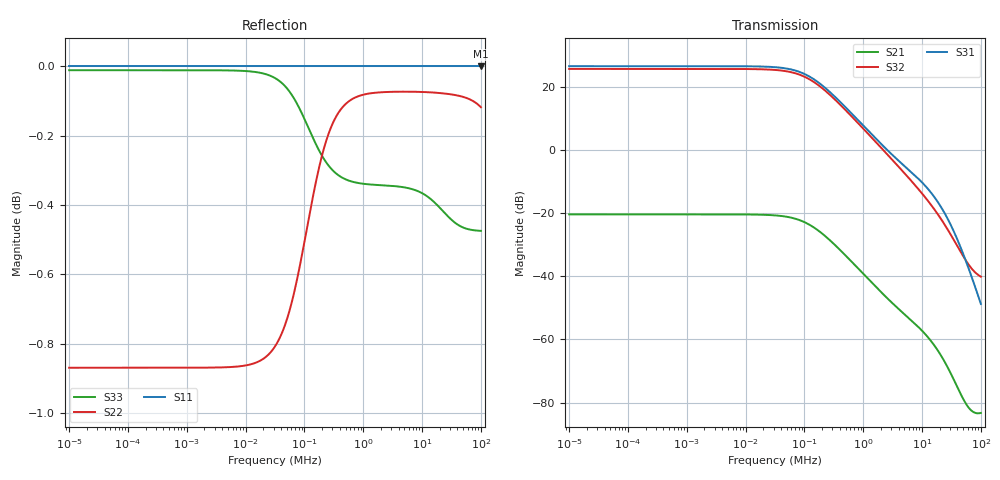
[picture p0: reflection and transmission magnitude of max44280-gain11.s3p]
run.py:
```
"""Run the assembled low-capacitance AFE's small-signal AC checks in ADS."""
import json
import os
from pathlib import Path
import re
import shutil
import subprocess
import tempfile

import numpy as np
from keysight.ads import dataset
from keysight.edatoolbox import ads

HERE = Path(__file__).resolve().parent
BASE = HERE.parents[1] / "ads-closeout-2026-11-22/four-coax-native/afe.ckt"
ADS = Path(os.environ.get("CURALINK_ADS_ROOT", r"C:\Program Files\Keysight\ADS2026_Update2"))
NODES = ["ch1", "ch2", "ch3", "ch4", "ref"]


def circuit():
    result = ['#uselib "ckt", "S3P"']
    for line in BASE.read_text().splitlines():
        if re.match(r"tlv9002_tlv9002:xu(101_[1-4]|109_1) ", line):
            continue
        if re.match(r"R:r\d+ (\w+_minus vmid R=1000|\w+_pre \w+_minus R=10000)$", line):
            continue
        if re.match(r"R:r\d+ \w+_plus vmid R=22000000", line):
            line = line.replace("vmid R=22000000", "vmid_raw R=21780000")
        if line.startswith("Cap_L:c_trace_"):
            line = line.replace("C=2p", "C=LAY_P*1e-12")
        if line.startswith("Cap_L:c_esd_"):
            line = line.replace("C=0.5p", "C=0.65p")
        if line.startswith("SINGLE="):
            result.extend(['LAY_P=.60', 'V_Source:Voper OPER 0 Vdc=1.5'])
            result.append("tlv9002_tlv9002:xu109_1 vmid_raw afe_spare_a avdd_3v0 0 afe_spare_a")
            result.extend(f"Cap_L:c{n} avdd_3v0 0 C=100n" for n in range(632,636))
            for n in NODES:
                result.extend([f'S3P:X_{n} a_{n} b_{n} c_{n} 0 File="max44280-gain11.s3p"',
                               f'Cap_L:p1_{n} a_{n} {n}_plus C=1',
                               f'Cap_L:p2_{n} b_{n} vmid C=1',
                               f'Cap_L:p3_{n} c_{n} {n}_pre C=1',
                               f'L:op_{n} {n}_pre OPER L=1e9',
                               f'Cap_L:c_extra_{n} {n}_plus 0 C=.2p'])
        if re.match(r'V_Source:v(ch[1-4]|ref) ', line):
            name = line.split()[0].split(":v")[1]
            idx = NODES.index(name)
            line = f'V_Source:v{name} src_{name} 0 Vdc=0 Vac=polar(max(0,1-abs(AC_STIM-{idx})),0)'
        if line.startswith("V_Source:vinj"):
            line = line.replace("polar(INJECT,0)", "0")
        if line.startswith("SweepPlan:Stim"):
            line = line.replace("Stop=3", "Stop=4")
        result.append(line)
    return "\n".join(result) + "\n"


def main():
    result = []
    simulator = ads.CircuitSimulator(hpeesof_dir=str(ADS))
    for pf in (.60, .75, 1.0):
        content = circuit().replace("LAY_P=.60", f"LAY_P={pf:g}")
        with tempfile.TemporaryDirectory() as folder:
            tmp = Path(folder)
            (tmp / "afe.ckt").write_text(content)
            shutil.copyfile(HERE / "max44280-gain11.s3p", tmp / "max44280-gain11.s3p")
            cmd = [str(ADS/"bin/hpeesofsim.exe"), "afe.ckt", "--dataset-name=afe", "-T4"]
            run = subprocess.run(cmd, cwd=tmp, env=simulator._env, capture_output=True, timeout=240)
            log = run.stdout + run.stderr
            (HERE / f"ads-{pf:g}pF.log").write_bytes(log)
            if run.returncode:
                raise RuntimeError(log.decode(errors="replace")[-1800:])
            with dataset.open(tmp/"afe.ds") as ds:
                df = ds["Case.AC1.AC"].to_dataframe().reset_index()
            if pf == .6:
                shutil.copyfile(tmp/"afe.ds", HERE/"stressed.ds")
            for i, n in enumerate(NODES):
                data = df[(df["AC_STIM"] == i) & (df["freq"] >= 300) & (df["freq"] <= 7000)]
                f = data.freq.to_numpy()
                v = data["ffc_"+n].to_numpy()
                drive = data["src_ref" if n == "ref" else "genout_"+n].to_numpy()
                z = 47000*v/(drive-v)
                gain = data["adc_in_"+(n[-1] if n != "ref" else "1")].to_numpy()
                result.append(dict(layout_pF=pf, driven=n, min_Z_Mohm=float(min(abs(z))/1e6),
                                   at_Hz=float(f[np.argmin(abs(z))]),
                                   gain_1k_V_per_V=float(abs(gain[np.argmin(abs(f-1000))]))))
        if pf == .6:
            (HERE/"stressed.ckt").write_text(content)
    (HERE/"results.json").write_text(json.dumps(result,indent=2)+"\n")
    print(json.dumps(result[::5],indent=2))


if __name__ == "__main__":
    main()
```
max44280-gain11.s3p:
! Simulated linearized three-port, 3.0 V supply, 1.5 V common mode, 27 C.
! 1 noninverting input, 2 bottom of 1k gain resistor, 3 output. Includes 10k/1k network.
! Touchstone v1 three-port row order S11 S12 S13 / S21 S22 S23 / S31 S32 S33.
# Hz S RI R 50
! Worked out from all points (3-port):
!   701 points, 10 Hz to 100 MHz, reference 50 ohm
!   strongest paths, dB at 10 Hz, 562.3 Hz, 31.62 kHz, 1.778 MHz, 100 MHz:
!     S31: 26.5, 26.5, 26.1, 2.9, -48.8
!     S32: 25.6, 25.6, 25.3, 1.7, -40.1
!     S21: -20.4, -20.4, -20.7, -44.0, -83.3
!   lowest |S11| = 0.0 dB at 100 MHz (marker M1)
!   |S11| at or under -10 dB: nowhere
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10  1 -2.55e-09  5.71e-15 4.7e-15  5.83e-16 4.8e-16
    0.0952 -8.3e-06  0.9048 7.58e-06  6.04e-06 7.74e-07
    21.03 -0.00183  -19.03 0.00167  -0.9987 0.00017
19054.61  1 -6.29e-06  -1.77e-09 3.03e-10  -1.8e-10 3.09e-11
          0.0926 -0.0154  0.9072 0.014  0.000245 0.00144
          20.47 -3.401  -18.52 3.105  -0.9459 0.3172
114815.4  1 -2.9e-05  -3.29e-08 3.3e-08  -3.36e-09 3.37e-09
          0.0475 -0.0476  0.9483 0.0434  0.00445 0.00443
          10.51 -10.51  -9.421 9.592  -0.0165 0.98
575439.9  1 -0.000193  -6.26e-08 3.17e-07  -6.39e-09 3.24e-08
          0.00369 -0.0183  0.9884 0.0164  0.00854 0.00168
          0.8219 -4.037  -0.5795 3.67  0.8867 0.3749
1e8  0.9997 -0.0253  1.36e-05 5.36e-05  1.39e-06 5.48e-06
     7.31e-06 6.83e-05  0.9863 -0.0196  0.00833 -0.002
     -0.00217 0.00292  0.00906 -0.00382  0.9468 -0.000628
